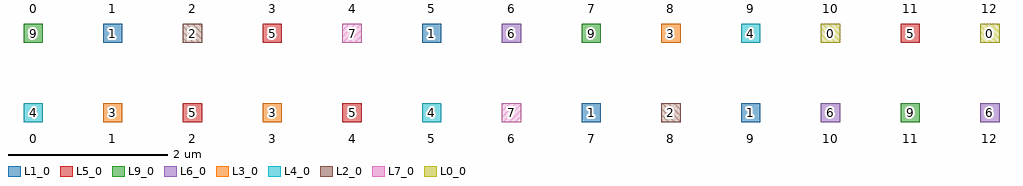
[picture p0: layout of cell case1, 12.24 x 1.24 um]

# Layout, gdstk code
import gdstk
lib = gdstk.Library(unit=1e-6, precision=1e-09)
def R(c, l, rs):  # rectangles x0, y0, x1, y1
    for r in rs: c.add(gdstk.rectangle(r[:2], r[2:], *l))
L0_0 = (0, 0)
L1_0 = (1, 0)
L2_0 = (2, 0)
L3_0 = (3, 0)
L4_0 = (4, 0)
L5_0 = (5, 0)
L6_0 = (6, 0)
L7_0 = (7, 0)
L9_0 = (9, 0)

case1 = lib.new_cell('case1')
R(case1, L0_0, [(9.88,0.88,10.12,1.12), (11.88,0.88,12.12,1.12)])
R(case1, L1_0, [(6.88,-0.12,7.12,0.12), (8.88,-0.12,9.12,0.12), (0.88,0.88,1.12,1.12), (4.88,0.88,5.12,1.12)])
R(case1, L2_0, [(7.88,-0.12,8.12,0.12), (1.88,0.88,2.12,1.12)])
R(case1, L3_0, [(0.88,-0.12,1.12,0.12), (2.88,-0.12,3.12,0.12), (7.88,0.88,8.12,1.12)])
R(case1, L4_0, [(-0.12,-0.12,0.12,0.12), (4.88,-0.12,5.12,0.12), (8.88,0.88,9.12,1.12)])
R(case1, L5_0, [(1.88,-0.12,2.12,0.12), (3.88,-0.12,4.12,0.12), (2.88,0.88,3.12,1.12), (10.88,0.88,11.12,1.12)])
R(case1, L6_0, [(9.88,-0.12,10.12,0.12), (11.88,-0.12,12.12,0.12), (5.88,0.88,6.12,1.12)])
R(case1, L7_0, [(5.88,-0.12,6.12,0.12), (3.88,0.88,4.12,1.12)])
R(case1, L9_0, [(10.88,-0.12,11.12,0.12), (-0.12,0.88,0.12,1.12), (6.88,0.88,7.12,1.12)])
case1.add(gdstk.Label('0', (0,1.4), layer=215, texttype=1))
case1.add(gdstk.Label('9', (0,1), layer=215, texttype=1))
case1.add(gdstk.Label('1', (1,1.4), layer=215, texttype=1))
case1.add(gdstk.Label('1', (1,1), layer=215, texttype=1))
case1.add(gdstk.Label('2', (2,1.4), layer=215, texttype=1))
case1.add(gdstk.Label('2', (2,1), layer=215, texttype=1))
case1.add(gdstk.Label('3', (3,1.4), layer=215, texttype=1))
case1.add(gdstk.Label('5', (3,1), layer=215, texttype=1))
case1.add(gdstk.Label('4', (4,1.4), layer=215, texttype=1))
case1.add(gdstk.Label('7', (4,1), layer=215, texttype=1))
case1.add(gdstk.Label('5', (5,1.4), layer=215, texttype=1))
case1.add(gdstk.Label('1', (5,1), layer=215, texttype=1))
case1.add(gdstk.Label('6', (6,1.4), layer=215, texttype=1))
case1.add(gdstk.Label('6', (6,1), layer=215, texttype=1))
case1.add(gdstk.Label('7', (7,1.4), layer=215, texttype=1))
case1.add(gdstk.Label('9', (7,1), layer=215, texttype=1))
case1.add(gdstk.Label('8', (8,1.4), layer=215, texttype=1))
case1.add(gdstk.Label('3', (8,1), layer=215, texttype=1))
case1.add(gdstk.Label('9', (9,1.4), layer=215, texttype=1))
case1.add(gdstk.Label('4', (9,1), layer=215, texttype=1))
case1.add(gdstk.Label('10', (10,1.4), layer=215, texttype=1))
case1.add(gdstk.Label('0', (10,1), layer=215, texttype=1))
case1.add(gdstk.Label('11', (11,1.4), layer=215, texttype=1))
case1.add(gdstk.Label('5', (11,1), layer=215, texttype=1))
case1.add(gdstk.Label('12', (12,1.4), layer=215, texttype=1))
case1.add(gdstk.Label('0', (12,1), layer=215, texttype=1))
case1.add(gdstk.Label('0', (0,-0.4), layer=215, texttype=1))
case1.add(gdstk.Label('4', (0,0), layer=215, texttype=1))
case1.add(gdstk.Label('1', (1,-0.4), layer=215, texttype=1))
case1.add(gdstk.Label('3', (1,0), layer=215, texttype=1))
case1.add(gdstk.Label('2', (2,-0.4), layer=215, texttype=1))
case1.add(gdstk.Label('5', (2,0), layer=215, texttype=1))
case1.add(gdstk.Label('3', (3,-0.4), layer=215, texttype=1))
case1.add(gdstk.Label('3', (3,0), layer=215, texttype=1))
case1.add(gdstk.Label('4', (4,-0.4), layer=215, texttype=1))
case1.add(gdstk.Label('5', (4,0), layer=215, texttype=1))
case1.add(gdstk.Label('5', (5,-0.4), layer=215, texttype=1))
case1.add(gdstk.Label('4', (5,0), layer=215, texttype=1))
case1.add(gdstk.Label('6', (6,-0.4), layer=215, texttype=1))
case1.add(gdstk.Label('7', (6,0), layer=215, texttype=1))
case1.add(gdstk.Label('7', (7,-0.4), layer=215, texttype=1))
case1.add(gdstk.Label('1', (7,0), layer=215, texttype=1))
case1.add(gdstk.Label('8', (8,-0.4), layer=215, texttype=1))
case1.add(gdstk.Label('2', (8,0), layer=215, texttype=1))
case1.add(gdstk.Label('9', (9,-0.4), layer=215, texttype=1))
case1.add(gdstk.Label('1', (9,0), layer=215, texttype=1))
case1.add(gdstk.Label('10', (10,-0.4), layer=215, texttype=1))
case1.add(gdstk.Label('6', (10,0), layer=215, texttype=1))
case1.add(gdstk.Label('11', (11,-0.4), layer=215, texttype=1))
case1.add(gdstk.Label('9', (11,0), layer=215, texttype=1))
case1.add(gdstk.Label('12', (12,-0.4), layer=215, texttype=1))
case1.add(gdstk.Label('6', (12,0), layer=215, texttype=1))

lib.write_gds('case1.gds')
